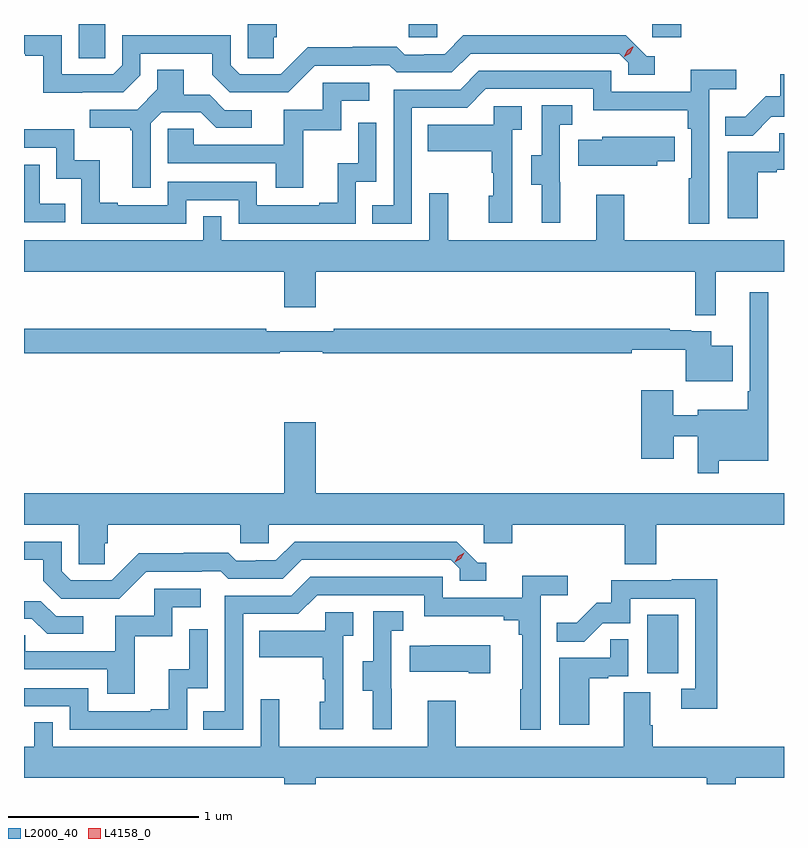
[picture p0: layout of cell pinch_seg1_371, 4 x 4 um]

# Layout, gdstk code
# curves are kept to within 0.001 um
import gdstk
lib = gdstk.Library(unit=1e-6, precision=1e-09)
def R(c, l, rs):  # rectangles x0, y0, x1, y1
    for r in rs: c.add(gdstk.rectangle(r[:2], r[2:], *l))
def P(c, l, *ps):  # polygons
    for p in ps: c.add(gdstk.Polygon(p, *l))
L2000_40 = (2000, 40)
L4158_0 = (4158, 0)

pinch_seg1_371 = lib.new_cell('pinch_seg1_371')
R(pinch_seg1_371, L2000_40, [(982.1,524.31,982.264,524.617), (979.109,527.548,979.248,527.727), (980.847,527.658,980.997,527.727), (982.128,527.658,982.28,527.727)])
P(pinch_seg1_371, L2000_40, [(980.135,527.658),(980.15,527.658),(980.15,527.727),(979.998,527.727),(979.998,527.548),(980.135,527.548)],
  [(979.128,527.367),(979.344,527.367),(979.434,527.457),(979.434,527.571),(979.811,527.571),(979.811,527.461),(979.905,527.367),(980.211,527.367),(980.352,527.508),(980.645,527.508),(980.645,527.511),(980.744,527.511),(980.783,527.472),(981.072,527.472),(981.171,527.571),(981.954,527.571),(982.002,527.523),(982.002,527.46),(982.141,527.46),(982.141,527.556),(982.098,527.556),(981.987,527.667),(981.134,527.667),(981.035,527.568),(980.928,527.568),(980.928,527.565),(980.825,527.565),(980.783,527.608),(980.55,527.608),(980.55,527.605),(980.314,527.605),(980.172,527.463),(979.956,527.463),(979.908,527.511),(979.908,527.667),(979.338,527.667),(979.338,527.511),(979.29,527.463),(979.02,527.463),(979.02,527.667),(978.821,527.667),(978.821,527.571),(978.827,527.571),(978.827,527.559),(978.923,527.559),(978.923,527.366)],
  [(979.488,527.205),(979.545,527.262),(979.751,527.262),(979.832,527.181),(980.02,527.181),(980.02,527.274),(979.878,527.274),(979.798,527.354),(979.663,527.354),(979.663,527.486),(979.523,527.486),(979.523,527.384),(979.416,527.277),(979.167,527.277),(979.167,527.18),(979.38,527.18),(979.38,527.169),(979.391,527.169),(979.391,526.866),(979.488,526.866)],
  [(980.862,527.286),(981.153,527.286),(981.252,527.385),(981.816,527.385),(981.816,527.273),(982.315,527.273),(982.315,527.177),(982.332,527.177),(982.332,526.916),(982.32,526.916),(982.32,526.677),(982.428,526.677),(982.428,527.384),(982.57,527.384),(982.57,527.486),(982.331,527.486),(982.331,527.37),(981.912,527.37),(981.912,527.481),(981.215,527.481),(981.116,527.382),(980.766,527.382),(980.766,526.773),(980.653,526.773),(980.653,526.677),(980.862,526.677)],
  [(982.755,527.238),(982.821,527.238),(982.821,527.463),(982.801,527.463),(982.801,527.346),(982.724,527.346),(982.617,527.239),(982.513,527.239),(982.513,527.14),(982.657,527.14)],
  [(980.291,527.169),(980.49,527.169),(980.49,527.322),(980.638,527.322),(980.638,527.418),(980.394,527.418),(980.394,527.277),(980.189,527.277),(980.189,527.091),(979.715,527.091),(979.715,527.175),(979.578,527.175),(979.578,526.995),(980.147,526.995),(980.147,526.866),(980.291,526.866)],
  [(981.644,526.893),(981.642,526.893),(981.642,527.197),(981.706,527.197),(981.706,527.3),(981.546,527.3),(981.546,527.037),(981.491,527.037),(981.491,526.882),(981.545,526.882),(981.545,526.68),(981.644,526.68)],
  [(981.39,527.171),(981.442,527.171),(981.442,527.295),(981.294,527.295),(981.294,527.197),(980.947,527.197),(980.947,527.057),(981.282,527.057),(981.282,526.943),(981.292,526.943),(981.292,526.824),(981.266,526.824),(981.266,526.68),(981.39,526.68)],
  [(979.674,526.8),(979.95,526.8),(979.95,526.677),(980.568,526.677),(980.568,526.896),(980.676,526.896),(980.676,527.206),(980.58,527.206),(980.58,526.994),(980.471,526.994),(980.471,526.786),(980.375,526.786),(980.375,526.773),(980.046,526.773),(980.046,526.896),(979.578,526.896),(979.578,526.773),(979.315,526.773),(979.315,526.786),(979.219,526.786),(979.219,527.011),(979.086,527.011),(979.086,527.172),(978.821,527.172),(978.821,527.076),(978.99,527.076),(978.99,526.913),(979.122,526.913),(979.122,526.677),(979.674,526.677)],
  [(982.684,526.947),(982.784,526.947),(982.784,526.959),(982.821,526.959),(982.821,527.153),(982.795,527.153),(982.795,527.055),(982.526,527.055),(982.526,526.704),(982.684,526.704)],
  [(982.153,527.005),(982.247,527.005),(982.247,527.133),(982.136,527.133),(982.136,527.134),(981.864,527.134),(981.864,527.119),(981.739,527.119),(981.739,526.982),(982.153,526.982)],
  [(979.037,526.78),(978.903,526.78),(978.903,526.986),(978.821,526.986),(978.821,526.683),(979.037,526.683)],
  [(982.463,526.424),(982.821,526.424),(982.821,526.588),(981.981,526.588),(981.981,526.828),(981.833,526.828),(981.833,526.588),(981.053,526.588),(981.053,526.837),(980.955,526.837),(980.955,526.588),(979.86,526.588),(979.86,526.715),(979.764,526.715),(979.764,526.588),(978.821,526.588),(978.821,526.424),(980.192,526.424),(980.192,526.236),(980.356,526.236),(980.356,526.424),(982.354,526.424),(982.354,526.195),(982.463,526.195)],
  [(982.477,525.428),(982.738,525.428),(982.738,526.315),(982.641,526.315),(982.641,525.793),(982.629,525.793),(982.629,525.697),(982.367,525.697),(982.367,525.667),(982.239,525.667),(982.239,525.799),(982.07,525.799),(982.07,525.438),(982.24,525.438),(982.24,525.558),(982.368,525.558),(982.368,525.363),(982.477,525.363)],
  [(982.552,526.033),(982.438,526.033),(982.438,526.11),(982.334,526.11),(982.334,526.116),(982.22,526.116),(982.22,526.123),(980.452,526.123),(980.452,526.11),(980.096,526.11),(980.096,526.123),(978.821,526.123),(978.821,525.994),(980.167,525.994),(980.167,526.002),(980.393,526.002),(980.393,525.994),(982.02,525.994),(982.02,526.013),(982.305,526.013),(982.305,525.846),(982.552,525.846)],
  [(979.247,524.994),(979.262,524.994),(979.262,525.092),(979.959,525.092),(979.959,524.994),(980.109,524.994),(980.109,525.092),(981.24,525.092),(981.24,524.994),(981.392,524.994),(981.392,525.092),(981.983,525.092),(981.983,524.884),(982.148,524.884),(982.148,525.092),(982.821,525.092),(982.821,525.256),(980.356,525.256),(980.356,525.631),(980.192,525.631),(980.192,525.256),(978.821,525.256),(978.821,525.092),(979.11,525.092),(979.11,524.884),(979.247,524.884)],
  [(979.464,524.844),(979.757,524.844),(979.757,524.847),(979.856,524.847),(979.895,524.808),(980.184,524.808),(980.283,524.907),(981.066,524.907),(981.114,524.859),(981.114,524.796),(981.253,524.796),(981.253,524.892),(981.21,524.892),(981.099,525.003),(980.246,525.003),(980.147,524.904),(980.04,524.904),(980.04,524.901),(979.937,524.901),(979.895,524.944),(979.662,524.944),(979.662,524.941),(979.426,524.941),(979.284,524.799),(979.068,524.799),(979.02,524.847),(979.02,525.003),(978.821,525.003),(978.821,524.907),(978.923,524.907),(978.923,524.797),(979.017,524.703),(979.323,524.703)],
  [(979.974,524.622),(980.265,524.622),(980.364,524.721),(980.928,524.721),(980.928,524.609),(981.347,524.609),(981.347,524.59),(981.424,524.59),(981.424,524.513),(981.443,524.513),(981.443,524.225),(981.432,524.225),(981.432,524.013),(981.54,524.013),(981.54,524.72),(981.682,524.72),(981.682,524.822),(981.443,524.822),(981.443,524.706),(981.024,524.706),(981.024,524.817),(980.327,524.817),(980.228,524.718),(979.878,524.718),(979.878,524.109),(979.765,524.109),(979.765,524.013),(979.974,524.013)],
  [(982.469,524.804),(982.231,524.804),(982.231,524.799),(981.913,524.799),(981.913,524.682),(981.836,524.682),(981.729,524.575),(981.625,524.575),(981.625,524.476),(981.769,524.476),(981.867,524.574),(982.011,524.574),(982.011,524.703),(982.353,524.703),(982.353,524.229),(982.281,524.229),(982.281,524.124),(982.469,524.124)],
  [(979.403,524.505),(979.602,524.505),(979.602,524.658),(979.75,524.658),(979.75,524.754),(979.506,524.754),(979.506,524.613),(979.301,524.613),(979.301,524.427),(978.827,524.427),(978.827,524.511),(978.821,524.511),(978.821,524.331),(979.259,524.331),(979.259,524.202),(979.403,524.202)],
  [(979.132,524.61),(978.99,524.61),(978.91,524.69),(978.821,524.69),(978.821,524.598),(978.863,524.598),(978.944,524.517),(979.132,524.517)],
  [(980.756,524.229),(980.754,524.229),(980.754,524.533),(980.818,524.533),(980.818,524.636),(980.658,524.636),(980.658,524.373),(980.603,524.373),(980.603,524.218),(980.657,524.218),(980.657,524.016),(980.756,524.016)],
  [(980.502,524.507),(980.554,524.507),(980.554,524.631),(980.406,524.631),(980.406,524.533),(980.059,524.533),(980.059,524.393),(980.394,524.393),(980.394,524.279),(980.404,524.279),(980.404,524.16),(980.378,524.16),(980.378,524.016),(980.502,524.016)],
  [(979.68,524.232),(979.788,524.232),(979.788,524.542),(979.692,524.542),(979.692,524.33),(979.583,524.33),(979.583,524.121),(979.487,524.121),(979.487,524.109),(979.158,524.109),(979.158,524.232),(978.821,524.232),(978.821,524.136),(979.062,524.136),(979.062,524.013),(979.68,524.013)],
  [(981.796,524.283),(981.896,524.283),(981.896,524.295),(982.002,524.295),(982.002,524.489),(981.907,524.489),(981.907,524.391),(981.638,524.391),(981.638,524.04),(981.796,524.04)],
  [(981.274,524.458),(980.959,524.458),(980.959,524.455),(980.851,524.455),(980.851,524.318),(981.161,524.318),(981.161,524.311),(981.274,524.311)],
  [(980.356,523.76),(982.415,523.76),(982.415,523.727),(982.567,523.727),(982.567,523.76),(982.821,523.76),(982.821,523.924),(982.13,523.924),(982.13,524.036),(982.117,524.036),(982.117,524.21),(981.977,524.21),(981.977,523.924),(981.093,523.924),(981.093,524.164),(980.945,524.164),(980.945,523.924),(980.165,523.924),(980.165,524.173),(980.067,524.173),(980.067,523.924),(978.972,523.924),(978.972,524.051),(978.876,524.051),(978.876,523.924),(978.821,523.924),(978.821,523.76),(980.192,523.76),(980.192,523.727),(980.356,523.727)])
P(pinch_seg1_371, L4158_0, [(981.089,524.894),(981.089,524.894),(981.106,524.926),(981.137,524.945),(981.137,524.945),(981.137,524.945),(981.12,524.913),(981.089,524.894)],
  [(981.98,527.555),(981.98,527.555),(981.996,527.588),(982.026,527.607),(982.027,527.607),(982.027,527.607),(982.011,527.574),(981.98,527.555)])

lib.write_gds('pinch_seg1_371.gds')
